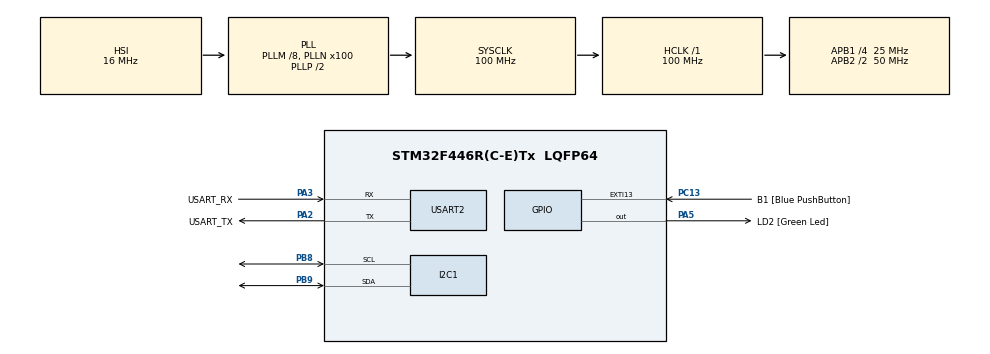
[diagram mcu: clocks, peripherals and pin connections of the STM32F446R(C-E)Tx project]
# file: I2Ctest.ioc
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I2C1.I2C_Mode=I2C_Fast
Mcu.Family=STM32F4
Mcu.Name=STM32F446R(C-E)Tx
Mcu.Package=LQFP64
NVIC.PriorityGroup=NVIC_PRIORITYGROUP_0
PA13.GPIO_Label=TMS
PA13.Mode=Serial_Wire
PA13.Signal=SYS_JTMS-SWDIO
PA14.GPIO_Label=TCK
PA14.Mode=Serial_Wire
PA14.Signal=SYS_JTCK-SWCLK
PA2.GPIO_Label=USART_TX
PA2.Mode=Asynchronous
PA2.Signal=USART2_TX
PA3.GPIO_Label=USART_RX
PA3.Mode=Asynchronous
PA3.Signal=USART2_RX
PA5.GPIO_Label=LD2 [Green Led]
PA5.Signal=GPIO_Output
PB3.GPIO_Label=SWO
PB3.Signal=SYS_JTDO-SWO
PB8.Mode=I2C
PB8.Signal=I2C1_SCL
PB9.Mode=I2C
PB9.Signal=I2C1_SDA
PC13.GPIO_Label=B1 [Blue PushButton]
PC13.GPIO_ModeDefaultEXTI=GPIO_MODE_IT_FALLING
PC13.Signal=GPXTI13
PC14-OSC32_IN.Mode=LSE-External-Oscillator
PC14-OSC32_IN.Signal=RCC_OSC32_IN
PC15-OSC32_OUT.Mode=LSE-External-Oscillator
PC15-OSC32_OUT.Signal=RCC_OSC32_OUT
PH0-OSC_IN.Mode=HSE-External-Oscillator
PH0-OSC_IN.Signal=RCC_OSC_IN
PH1-OSC_OUT.Mode=HSE-External-Oscillator
PH1-OSC_OUT.Signal=RCC_OSC_OUT
ProjectManager.HeapSize=0x200
ProjectManager.StackSize=0x400
ProjectManager.TargetToolchain=STM32CubeIDE
RCC.48MHZClocksFreq_Value=84000000
RCC.AHBFreq_Value=100000000
RCC.APB1CLKDivider=RCC_HCLK_DIV4
RCC.APB1Freq_Value=25000000
RCC.APB1TimFreq_Value=50000000
RCC.APB2CLKDivider=RCC_HCLK_DIV2
RCC.APB2Freq_Value=50000000
RCC.APB2TimFreq_Value=100000000
RCC.CortexFreq_Value=100000000
RCC.FLatency-AdvancedSettings=FLASH_LATENCY_3
RCC.HCLKFreq_Value=100000000
RCC.HSE_VALUE=8000000
RCC.HSI_VALUE=16000000
RCC.PLLM=8
RCC.PLLN=100
RCC.SYSCLKFreq_VALUE=100000000
RCC.SYSCLKSource=RCC_SYSCLKSOURCE_PLLCLK
RCC.USBFreq_Value=100000000
RCC.VCOOutputFreq_Value=200000000
USART2.VirtualMode=VM_ASYNC
board=NUCLEO-F446RE

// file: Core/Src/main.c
/* USER CODE BEGIN Header */
/**
  ******************************************************************************
  * @file           : main.c
  * @brief          : Main program body
  ******************************************************************************
  * @attention
  *
  * <h2><center>&copy; Copyright (c) 2021 STMicroelectronics.
  * All rights reserved.</center></h2>
  *
  * This software component is licensed by ST under BSD 3-Clause license,
  * the "License"; You may not use this file except in compliance with the
  * License. You may obtain a copy of the License at:
  *                        opensource.org/licenses/BSD-3-Clause
  *
  ******************************************************************************
  */
/* USER CODE END Header */
#include "main.h"
#include <stdio.h>

I2C_HandleTypeDef hi2c1;

UART_HandleTypeDef huart2;

/* USER CODE BEGIN PV */
// definy
#define LSM303_ACC_RESOLUTION 2.0f // max wart przyspieszenia [g]
#define LSM303_MAG_RESOLUTION 4.0f // max wart pola magnetycznego w [G]
#define LSM6DSL_GYR_RESOLUTION 250.0f // max wart dps zyroskopu [dsp]
#define LSM303_MAG_RESOLUTION_SETTING_4_0 0x80 // 100 00000

// Adresy urzadzen
#define LSM303_ACC_ADDRESS (0x19 << 1) // adres akcelerometru: 0011001x OK
#define LSM303_MAG_ADDRESS (0x1E << 1) // adres magnetometru: 0011110x
#define LSM6DSL_GYR_ADDRESS (0x6B << 1) // adres zyroskopu: 01101011x OK

// Rejestry ustawien
#define LSM303_ACC_CTRL_REG1_A 0x20 // rejestr ustawien akcelerometru 1
#define LSM303_MAG_CFG_REG_A_M 0x60 // rejestr ustawien data rate, system mode i temp enable magnetometru
#define LSM6DSL_GYR_CTRL2_G 0x11 // rejestr ustawien data rate zyroskopu
#define LSM6DSL_GYR_CTRL3_C_MULTI_READ 0x12

// Acc
#define LSM303_ACC_X_H_A 0x29
#define LSM303_ACC_X_L_A 0x28
#define LSM303_ACC_Y_H_A 0x2B
#define LSM303_ACC_Y_L_A 0x2A
#define LSM303_ACC_Z_H_A 0x2D
#define LSM303_ACC_Z_L_A 0x2C

// Mag (ZY reversed in memory for some reason according to documentation...)
#define LSM303_MAG_X_H_M 0x69
#define LSM303_MAG_X_L_M 0x68
#define LSM303_MAG_Y_H_M 0x6B
#define LSM303_MAG_Y_L_M 0x6A
#define LSM303_MAG_Z_H_M 0x6D
#define LSM303_MAG_Z_L_M 0x6C

// Gyr
#define LSM6DSL_GYR_X_H_G 0x23
#define LSM6DSL_GYR_X_L_G 0x22
#define LSM6DSL_GYR_Y_H_G 0x25
#define LSM6DSL_GYR_Y_L_G 0x24
#define LSM6DSL_GYR_Z_H_G 0x27
#define LSM6DSL_GYR_Z_L_G 0x26

// Maski bitowe
// CTRL_REG1_A = [ODR3][ODR2][ODR1][ODR0][LPEN][ZEN][YEN][XEN]
#define LSM303_ACC_XYZ_ENABLE 0x07 // 0000 0111
#define LSM303_ACC_100HZ 0x50 //0101 0000
#define LSM303_ACC_X_L_A_MULTI_READ (LSM303_ACC_X_L_A | 0x80)
#define LSM303_MAG_TEMP_DATARATE 0x88 // 1000 1000 TEMP_EN, 10dr=50Hz, continmode

//test WhoAmI
#define UART_BUF_LENGTH 100
volatile uint8_t TxBuf[UART_BUF_LENGTH];
volatile uint8_t RxBuf[UART_BUF_LENGTH];

// Zmienne
uint8_t Data[6]; // Zmienna do bezposredniego odczytu
int16_t acc_x = 0;
int16_t acc_y = 0;
int16_t acc_z = 0; // Zawiera przeksztalcona forme odczytanych danych
int16_t mag_x = 0;
int16_t mag_y = 0;
int16_t mag_z = 0;
int16_t gyr_x = 0;
int16_t gyr_y = 0;
int16_t gyr_z = 0;

float acc_x_g = 0; // zawiera przyspieszenie w osi przeksztalcone na jednostke fizyczna [g]
float acc_y_g = 0;
float acc_z_g = 0;
float mag_x_g = 0;
float mag_y_g = 0;
float mag_z_g = 0;
float gyr_x_dps = 0;
float gyr_y_dps = 0;
float gyr_z_dps = 0;
/* USER CODE END PV */

void SystemClock_Config(void);
static void MX_GPIO_Init(void);
static void MX_USART2_UART_Init(void);
static void MX_I2C1_Init(void);

int main(void)
{

  /* MCU Configuration--------------------------------------------------------*/

  /* Reset of all peripherals, Initializes the Flash interface and the Systick. */
  HAL_Init();

  /* Configure the system clock */
  SystemClock_Config();

  /* Initialize all configured peripherals */
  MX_GPIO_Init();
  MX_USART2_UART_Init();
  MX_I2C1_Init();
  /* USER CODE BEGIN 2 */

  // wypelnienie zmiennej konfiguracyjnej odpowiednimi opcjami
  uint8_t acc_settings = LSM303_ACC_XYZ_ENABLE | LSM303_ACC_100HZ;
  uint8_t mag_settings_cfg_a_regm_temp_dr_sm = LSM303_MAG_TEMP_DATARATE;
  uint8_t gyr_settings_multiread = 0x01;
  uint8_t gyr_settings_datarate = 0x30; // 0011 0000 52Hz HF

  // Wpisanie konfiguracji do rejestru akcelerometru
  HAL_I2C_Mem_Write(&hi2c1, LSM303_ACC_ADDRESS, LSM303_ACC_CTRL_REG1_A, 1, &acc_settings, 1, 100);
  // Wpisanie konfiguracji do rejestru magnetometru
  HAL_I2C_Mem_Write(&hi2c1, LSM303_MAG_ADDRESS, LSM303_MAG_CFG_REG_A_M, 1, &mag_settings_cfg_a_regm_temp_dr_sm, 1, 100);
  // Uruchomienie inkrementacji read/write adresu do odczytu wielu wartosci jednoczesnie dla zyroskopu
  HAL_I2C_Mem_Write(&hi2c1, LSM6DSL_GYR_ADDRESS, LSM6DSL_GYR_CTRL3_C_MULTI_READ, 1, &gyr_settings_multiread, 1, 100);
  HAL_I2C_Mem_Write(&hi2c1, LSM6DSL_GYR_ADDRESS, LSM6DSL_GYR_CTRL2_G, 1, &gyr_settings_datarate, 1, 100);
  /* USER CODE END 2 */

  /* Infinite loop */
  /* USER CODE BEGIN WHILE */
  while (1)
  {
  	// Pobranie wyzszego bajtu danych osi Z
  	HAL_I2C_Mem_Read(&hi2c1, LSM303_ACC_ADDRESS, LSM303_ACC_X_L_A_MULTI_READ, 1, Data, 6, 100);
	acc_x = ((Data[1] << 8) | Data[0]);
	acc_y = ((Data[3] << 8) | Data[2]);
	acc_z = ((Data[5] << 8) | Data[4]);

	HAL_I2C_Mem_Read(&hi2c1, LSM303_MAG_ADDRESS, LSM303_MAG_X_L_M, 1, Data, 6, 100);
	mag_x = ((Data[1] << 8) | Data[0]);
	mag_y = ((Data[3] << 8) | Data[2]);
	mag_z = ((Data[5] << 8) | Data[4]);

	HAL_I2C_Mem_Read(&hi2c1, LSM6DSL_GYR_ADDRESS, LSM6DSL_GYR_X_L_G, 1, Data, 6, 100); // no multi read in doc..
	gyr_x = ((Data[1] << 8) | Data[0]);
	gyr_y = ((Data[3] << 8) | Data[2]);
	gyr_z = ((Data[5] << 8) | Data[4]);

	// convert to floats
	acc_x_g = ((float) acc_x * LSM303_ACC_RESOLUTION) / (float) INT16_MAX;
	acc_y_g = ((float) acc_y * LSM303_ACC_RESOLUTION) / (float) INT16_MAX;
	acc_z_g = ((float) acc_z * LSM303_ACC_RESOLUTION) / (float) INT16_MAX;
	gyr_x_dps = ((float) gyr_x * LSM6DSL_GYR_RESOLUTION) / (float) INT16_MAX;
	gyr_y_dps = ((float) gyr_y * LSM6DSL_GYR_RESOLUTION) / (float) INT16_MAX;
	gyr_z_dps = ((float) gyr_z * LSM6DSL_GYR_RESOLUTION) / (float) INT16_MAX;
	mag_x_g = ((float) mag_x * LSM303_MAG_RESOLUTION) / (float) INT16_MAX;
	mag_y_g = ((float) mag_y * LSM303_MAG_RESOLUTION) / (float) INT16_MAX;
	mag_z_g = ((float) mag_z * LSM303_MAG_RESOLUTION) / (float) INT16_MAX;

	// prepare floats for sending over serial
	char acc_x_str[10];
	char acc_y_str[10];
	char acc_z_str[10];
	char gyr_x_str[10];
	char gyr_y_str[10];
	char gyr_z_str[10];
	char mag_x_str[10];
	char mag_y_str[10];
	char mag_z_str[10];
	sprintf(acc_x_str, "%f", acc_x_g);
	sprintf(acc_y_str, "%f", acc_y_g);
	sprintf(acc_z_str, "%f", acc_z_g);
	sprintf(gyr_x_str, "%f", gyr_x_dps);
	sprintf(gyr_y_str, "%f", gyr_y_dps);
	sprintf(gyr_z_str, "%f", gyr_z_dps);
	sprintf(mag_x_str, "%f", mag_x_g);
	sprintf(mag_y_str, "%f", mag_y_g);
	sprintf(mag_z_str, "%f", mag_z_g);

	// Madgwick AHRS - consider tweaking sample freq/delta time in implementation
	MadgwickAHRS(acc_x_g, acc_y_g, acc_z_g, gyr_x_dps, gyr_y_dps, gyr_z_dps, mag_x_g, mag_y_g, mag_z_g);

	// prepare quaternion floats for sending over serial
	char q0_str[10];
	char q1_str[10];
	char q2_str[10];
	char q3_str[10];
	sprintf(q0_str, "%f", q0);
	sprintf(q1_str, "%f", q1);
	sprintf(q2_str, "%f", q2);
	sprintf(q3_str, "%f", q3);

	  uint8_t TxSize;
	  /*TxSize = snprintf(TxBuf,sizeof(TxBuf),"ACC_GYR_MAG RAW OUTPUT\r\n");
	  HAL_UART_Transmit(&huart2, TxBuf, TxSize,100);
	  TxSize = snprintf(TxBuf,sizeof(TxBuf),"LSM303: AccX= %d, AccY= %d, AccZ= %d\r\n",acc_x, acc_y, acc_z);
	  HAL_UART_Transmit(&huart2, TxBuf, TxSize,100);

	  TxSize = snprintf(TxBuf,sizeof(TxBuf),"LSM6DSL: GyrX= %d, GyrY= %d, GyrZ= %d\r\n",gyr_x, gyr_y, gyr_z);
	  HAL_UART_Transmit(&huart2, TxBuf, TxSize,100);

	  TxSize = snprintf(TxBuf,sizeof(TxBuf),"LSM303: MagX= %d, MagY= %d, MagZ= %d\r\n",mag_x, mag_y, mag_z);
	  HAL_UART_Transmit(&huart2, TxBuf, TxSize,100);
	  HAL_Delay(2000);

	  TxSize = snprintf(TxBuf,sizeof(TxBuf),"ACC_GYR_MAG UNIT OUTPUT [g][dps][G]\r\n");
	  HAL_UART_Transmit(&huart2, TxBuf, TxSize,100);
	  TxSize = snprintf(TxBuf,sizeof(TxBuf),"LSM303: AccX#AccY#AccZ=%s#%s#%s\r\n", acc_x_str, acc_y_str, acc_z_str);
	  HAL_UART_Transmit(&huart2, TxBuf, TxSize,100);

	  TxSize = snprintf(TxBuf,sizeof(TxBuf),"LSM6DSL: GyrX#GyrY#GyrZ=%s#%s#%s\r\n", gyr_x_str, gyr_y_str, gyr_z_str);
	  HAL_UART_Transmit(&huart2, TxBuf, TxSize,100);

	  TxSize = snprintf(TxBuf,sizeof(TxBuf),"LSM303: MagX#MagY#MagZ %s#%s#%s\r\n", mag_x_str, mag_y_str, mag_z_str);
	  HAL_UART_Transmit(&huart2, TxBuf, TxSize,100);
	  HAL_Delay(2000);

	  TxSize = snprintf(TxBuf,sizeof(TxBuf),"QUATERNION OUTPUT q0q1q2q3\r\n");
	  HAL_UART_Transmit(&huart2, TxBuf, TxSize,100); */
	  TxSize = snprintf(TxBuf,sizeof(TxBuf),"%s#%s#%s#%s\r\n", q0_str, q1_str, q2_str, q3_str);
	  HAL_UART_Transmit(&huart2, TxBuf, TxSize,100);

	  HAL_Delay(2000);

  {
    /* USER CODE END WHILE */

  }
}
}

void SystemClock_Config(void)
{
  RCC_OscInitTypeDef RCC_OscInitStruct = {0};
  RCC_ClkInitTypeDef RCC_ClkInitStruct = {0};

  /** Configure the main internal regulator output voltage
  */
  __HAL_RCC_PWR_CLK_ENABLE();
  __HAL_PWR_VOLTAGESCALING_CONFIG(PWR_REGULATOR_VOLTAGE_SCALE3);
  /** Initializes the RCC Oscillators according to the specified parameters
  * in the RCC_OscInitTypeDef structure.
  */
  RCC_OscInitStruct.OscillatorType = RCC_OSCILLATORTYPE_HSI;
  RCC_OscInitStruct.HSIState = RCC_HSI_ON;
  RCC_OscInitStruct.HSICalibrationValue = RCC_HSICALIBRATION_DEFAULT;
  RCC_OscInitStruct.PLL.PLLState = RCC_PLL_ON;
  RCC_OscInitStruct.PLL.PLLSource = RCC_PLLSOURCE_HSI;
  RCC_OscInitStruct.PLL.PLLM = 8;
  RCC_OscInitStruct.PLL.PLLN = 100;
  RCC_OscInitStruct.PLL.PLLP = RCC_PLLP_DIV2;
  RCC_OscInitStruct.PLL.PLLQ = 2;
  RCC_OscInitStruct.PLL.PLLR = 2;
  if (HAL_RCC_OscConfig(&RCC_OscInitStruct) != HAL_OK)
  {
    Error_Handler();
  }
  /** Initializes the CPU, AHB and APB buses clocks
  */
  RCC_ClkInitStruct.ClockType = RCC_CLOCKTYPE_HCLK|RCC_CLOCKTYPE_SYSCLK
                              |RCC_CLOCKTYPE_PCLK1|RCC_CLOCKTYPE_PCLK2;
  RCC_ClkInitStruct.SYSCLKSource = RCC_SYSCLKSOURCE_PLLCLK;
  RCC_ClkInitStruct.AHBCLKDivider = RCC_SYSCLK_DIV1;
  RCC_ClkInitStruct.APB1CLKDivider = RCC_HCLK_DIV4;
  RCC_ClkInitStruct.APB2CLKDivider = RCC_HCLK_DIV2;

  if (HAL_RCC_ClockConfig(&RCC_ClkInitStruct, FLASH_LATENCY_3) != HAL_OK)
  {
    Error_Handler();
  }
}

static void MX_I2C1_Init(void)
{

  hi2c1.Instance = I2C1;
  hi2c1.Init.ClockSpeed = 400000;
  hi2c1.Init.DutyCycle = I2C_DUTYCYCLE_2;
  hi2c1.Init.OwnAddress1 = 0;
  hi2c1.Init.AddressingMode = I2C_ADDRESSINGMODE_7BIT;
  hi2c1.Init.DualAddressMode = I2C_DUALADDRESS_DISABLE;
  hi2c1.Init.OwnAddress2 = 0;
  hi2c1.Init.GeneralCallMode = I2C_GENERALCALL_DISABLE;
  hi2c1.Init.NoStretchMode = I2C_NOSTRETCH_DISABLE;
  if (HAL_I2C_Init(&hi2c1) != HAL_OK)
  {
    Error_Handler();
  }

}

static void MX_USART2_UART_Init(void)
{

  huart2.Instance = USART2;
  huart2.Init.BaudRate = 115200;
  huart2.Init.WordLength = UART_WORDLENGTH_8B;
  huart2.Init.StopBits = UART_STOPBITS_1;
  huart2.Init.Parity = UART_PARITY_NONE;
  huart2.Init.Mode = UART_MODE_TX_RX;
  huart2.Init.HwFlowCtl = UART_HWCONTROL_NONE;
  huart2.Init.OverSampling = UART_OVERSAMPLING_16;
  if (HAL_UART_Init(&huart2) != HAL_OK)
  {
    Error_Handler();
  }

}

static void MX_GPIO_Init(void)
{
  GPIO_InitTypeDef GPIO_InitStruct = {0};

  /* GPIO Ports Clock Enable */
  __HAL_RCC_GPIOC_CLK_ENABLE();
  __HAL_RCC_GPIOH_CLK_ENABLE();
  __HAL_RCC_GPIOA_CLK_ENABLE();
  __HAL_RCC_GPIOB_CLK_ENABLE();

  /*Configure GPIO pin Output Level */
  HAL_GPIO_WritePin(LD2_GPIO_Port, LD2_Pin, GPIO_PIN_RESET);

  /*Configure GPIO pin : B1_Pin */
  GPIO_InitStruct.Pin = B1_Pin;
  GPIO_InitStruct.Mode = GPIO_MODE_IT_FALLING;
  GPIO_InitStruct.Pull = GPIO_NOPULL;
  HAL_GPIO_Init(B1_GPIO_Port, &GPIO_InitStruct);

  /*Configure GPIO pin : LD2_Pin */
  GPIO_InitStruct.Pin = LD2_Pin;
  GPIO_InitStruct.Mode = GPIO_MODE_OUTPUT_PP;
  GPIO_InitStruct.Pull = GPIO_NOPULL;
  GPIO_InitStruct.Speed = GPIO_SPEED_FREQ_LOW;
  HAL_GPIO_Init(LD2_GPIO_Port, &GPIO_InitStruct);

}

void Error_Handler(void)
{
  __disable_irq();
  while (1)
  {
  }
}

/************************ (C) COPYRIGHT STMicroelectronics *****END OF FILE****/
